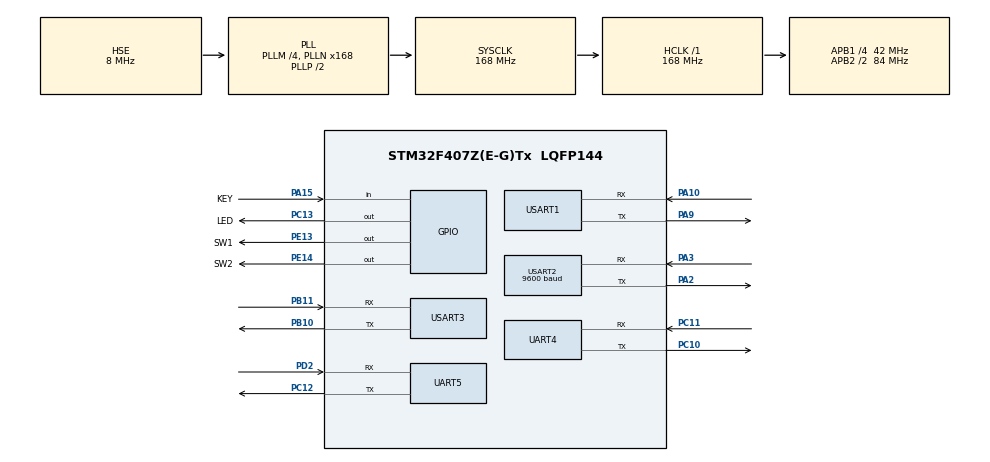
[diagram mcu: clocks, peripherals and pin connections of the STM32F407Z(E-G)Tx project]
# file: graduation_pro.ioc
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Mcu.Family=STM32F4
Mcu.Name=STM32F407Z(E-G)Tx
Mcu.Package=LQFP144
NVIC.PriorityGroup=NVIC_PRIORITYGROUP_4
NVIC.TIM6_DAC_IRQn=true\:3\:0\:true\:false\:true\:true\:true\:true
NVIC.TIM7_IRQn=true\:0\:0\:true\:false\:true\:true\:true\:true
NVIC.TIM8_TRG_COM_TIM14_IRQn=true\:2\:0\:true\:false\:true\:true\:true\:true
NVIC.USART1_IRQn=true\:1\:0\:true\:false\:true\:true\:true\:true
NVIC.USART2_IRQn=true\:1\:0\:true\:false\:true\:true\:true\:true
NVIC.USART3_IRQn=true\:1\:0\:true\:false\:true\:true\:true\:true
PA10.Mode=Asynchronous
PA10.Signal=USART1_RX
PA13.Mode=Serial_Wire
PA13.Signal=SYS_JTMS-SWDIO
PA14.Mode=Serial_Wire
PA14.Signal=SYS_JTCK-SWCLK
PA15.GPIO_Label=KEY
PA15.Signal=GPIO_Input
PA2.Mode=Asynchronous
PA2.Signal=USART2_TX
PA3.Mode=Asynchronous
PA3.Signal=USART2_RX
PA9.Mode=Asynchronous
PA9.Signal=USART1_TX
PB10.Mode=Asynchronous
PB10.Signal=USART3_TX
PB11.Mode=Asynchronous
PB11.Signal=USART3_RX
PC10.Mode=Asynchronous
PC10.Signal=UART4_TX
PC11.Mode=Asynchronous
PC11.Signal=UART4_RX
PC12.Mode=Asynchronous
PC12.Signal=UART5_TX
PC13-ANTI_TAMP.GPIO_Label=LED
PC13-ANTI_TAMP.GPIO_PuPd=GPIO_PULLUP
PC13-ANTI_TAMP.Signal=GPIO_Output
PD2.Mode=Asynchronous
PD2.Signal=UART5_RX
PE13.GPIO_Label=SW1
PE13.GPIO_PuPd=GPIO_PULLUP
PE13.Signal=GPIO_Output
PE14.GPIO_Label=SW2
PE14.GPIO_PuPd=GPIO_PULLUP
PE14.Signal=GPIO_Output
PH0-OSC_IN.Mode=HSE-External-Oscillator
PH0-OSC_IN.Signal=RCC_OSC_IN
PH1-OSC_OUT.Mode=HSE-External-Oscillator
PH1-OSC_OUT.Signal=RCC_OSC_OUT
ProjectManager.HeapSize=0x200
ProjectManager.StackSize=0x400
ProjectManager.TargetToolchain=MDK-ARM V5.32
RCC.48MHZClocksFreq_Value=84000000
RCC.AHBFreq_Value=168000000
RCC.APB1CLKDivider=RCC_HCLK_DIV4
RCC.APB1Freq_Value=42000000
RCC.APB1TimFreq_Value=84000000
RCC.APB2CLKDivider=RCC_HCLK_DIV2
RCC.APB2Freq_Value=84000000
RCC.APB2TimFreq_Value=168000000
RCC.CortexFreq_Value=168000000
RCC.HCLKFreq_Value=168000000
RCC.HSE_VALUE=8000000
RCC.HSI_VALUE=16000000
RCC.LSE_VALUE=32768
RCC.PLLM=4
RCC.PLLN=168
RCC.PLLSourceVirtual=RCC_PLLSOURCE_HSE
RCC.SYSCLKFreq_VALUE=168000000
RCC.SYSCLKSource=RCC_SYSCLKSOURCE_PLLCLK
RCC.VCOOutputFreq_Value=336000000
TIM14.AutoReloadPreload=TIM_AUTORELOAD_PRELOAD_ENABLE
TIM14.Period=4000-1
TIM14.Prescaler=84-1
TIM6.AutoReloadPreload=TIM_AUTORELOAD_PRELOAD_ENABLE
TIM6.Period=1000-1
TIM6.Prescaler=84-1
TIM7.AutoReloadPreload=TIM_AUTORELOAD_PRELOAD_ENABLE
TIM7.Period=2000-1
TIM7.Prescaler=84-1
UART4.VirtualMode=Asynchronous
UART5.VirtualMode=Asynchronous
USART1.VirtualMode=VM_ASYNC
USART2.BaudRate=9600
USART2.VirtualMode=VM_ASYNC
USART3.VirtualMode=VM_ASYNC
VP_TIM14_VS_ClockSourceINT.Mode=Enable_Timer
VP_TIM6_VS_ClockSourceINT.Mode=Enable_Timer
VP_TIM7_VS_ClockSourceINT.Mode=Enable_Timer
board=custom

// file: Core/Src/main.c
/* USER CODE BEGIN Header */
/**
  ******************************************************************************
  * @file           : main.c
  * @brief          : Main program body
  ******************************************************************************
  * @attention
  *
  * Copyright (c) 2023 STMicroelectronics.
  * All rights reserved.
  *
  * This software is licensed under terms that can be found in the LICENSE file
  * in the root directory of this software component.
  * If no LICENSE file comes with this software, it is provided AS-IS.
  *
  ******************************************************************************
  */
/* USER CODE END Header */
#include "main.h"
#include "tim.h"
#include "usart.h"
#include "gpio.h"

/* USER CODE BEGIN Includes */
#include "control.h"
#include "jy901.h"
#include "led.h"
#include "key.h"
#include "pid.h"
#include "delay.h"
#include "laser.h"
#include "modbus.h"
#include "nimotion.h"
#include "control.h"
/* USER CODE END Includes */

/* USER CODE BEGIN PV */
uint8_t g_Uart2RxByte;
uint8_t uart3_res;
float angt;
/* USER CODE END PV */

void SystemClock_Config(void);

int main(void)
{

  /* MCU Configuration--------------------------------------------------------*/

  /* Reset of all peripherals, Initializes the Flash interface and the Systick. */
  HAL_Init();

  /* Configure the system clock */
  SystemClock_Config();

  /* USER CODE BEGIN SysInit */
	delay_init(168);
  /* USER CODE END SysInit */

  /* Initialize all configured peripherals */
  MX_GPIO_Init();
  MX_UART4_Init();
  MX_UART5_Init();
  MX_USART1_UART_Init();
  MX_USART2_UART_Init();
  MX_USART3_UART_Init();
  MX_TIM14_Init();
  MX_TIM7_Init();
  MX_TIM6_Init();
  /* USER CODE BEGIN 2 */
	__HAL_UART_ENABLE_IT(&huart3, UART_IT_IDLE); //使能电机IDLE中断
	HAL_UARTEx_ReceiveToIdle_IT(&huart3,RS485_RX_BUF,64);
//	__HAL_UART_CLEAR_IDLEFLAG(&huart3);//清除标志位
	HWT_init();
	__HAL_TIM_CLEAR_FLAG(&htim14, TIM_FLAG_UPDATE);
	HAL_TIM_Base_Start_IT(&htim14);
	HAL_TIM_Base_Start_IT(&htim6);
	HAL_TIM_Base_Start_IT(&htim7);
	HAL_UART_Receive_IT(&huart2, &g_Uart2RxByte, 1);
//	HAL_UART_Receive_IT(&huart3,&uart3_res,1);
	delay_ms(500);
	init_yaw = (float)stcAngle.Angle[2]/32768*180;
  /* USER CODE END 2 */

  /* Infinite loop */
  /* USER CODE BEGIN WHILE */

	NiM_changeWorkMode(1,VELOCITY_MODE);
	delay_ms(1);
	NiM_changeWorkMode(2,VELOCITY_MODE);
	delay_ms(1);
	NiM_changeWorkMode(3,VELOCITY_MODE);
	delay_ms(1);
	NiM_changeWorkMode(4,VELOCITY_MODE);
	delay_ms(1);
	NiM_powerOff(1);
	NiM_powerOff(2);
	NiM_powerOff(3);
	NiM_powerOff(4);
	target_yaw=0;
	while(KeyState(0)==0);
	DirectionSet(1);//横向
	delay_ms(500);

//	speedLeft=400;speedRight=400;
//	delay_ms(2000);
//	speedLeft=-400;speedRight=-400;
//	delay_ms(2000);
//	speedLeft=400;speedRight=-400;
//	delay_ms(2000);
//	speedLeft=-400;speedRight=400;
//	delay_ms(2000);
//	speedLeft=0;speedRight=0;

	SpeedSet(400,400);
	delay_ms(2000);
	SpeedSet(-400,-400);
	delay_ms(2000);
//	SpeedSet(-400,400);
//	delay_ms(2000);
//	SpeedSet(400,-400);
//	delay_ms(2000);
//	SpeedSet(0,0);
//	isStraight = 1;
//	SpeedSet(200,200);
//	delay_ms(2000);
//	isStraight = 1;
//	SpeedSet(-200,-200);
//	delay_ms(2000);
//	NiM_powerOff(1);
//	NiM_powerOff(2);
//	NiM_powerOff(3);
//	NiM_powerOff(4);
	DirectionSet(1);
	delay_ms(3000);
	while (1)
  {

    /* USER CODE END WHILE */

  }
}

/**qock Configuration
  * @retval None
  */
void SystemClock_Config(void)
{
  RCC_OscInitTypeDef RCC_OscInitStruct = {0};
  RCC_ClkInitTypeDef RCC_ClkInitStruct = {0};

  /** Configure the main internal regulator output voltage
  */
  __HAL_RCC_PWR_CLK_ENABLE();
  __HAL_PWR_VOLTAGESCALING_CONFIG(PWR_REGULATOR_VOLTAGE_SCALE1);

  /** Initializes the RCC Oscillators according to the specified parameters
  * in the RCC_OscInitTypeDef structure.
  */
  RCC_OscInitStruct.OscillatorType = RCC_OSCILLATORTYPE_HSE;
  RCC_OscInitStruct.HSEState = RCC_HSE_ON;
  RCC_OscInitStruct.PLL.PLLState = RCC_PLL_ON;
  RCC_OscInitStruct.PLL.PLLSource = RCC_PLLSOURCE_HSE;
  RCC_OscInitStruct.PLL.PLLM = 4;
  RCC_OscInitStruct.PLL.PLLN = 168;
  RCC_OscInitStruct.PLL.PLLP = RCC_PLLP_DIV2;
  RCC_OscInitStruct.PLL.PLLQ = 4;
  if (HAL_RCC_OscConfig(&RCC_OscInitStruct) != HAL_OK)
  {
    Error_Handler();
  }

  /** Initializes the CPU, AHB and APB buses clocks
  */
  RCC_ClkInitStruct.ClockType = RCC_CLOCKTYPE_HCLK|RCC_CLOCKTYPE_SYSCLK
                              |RCC_CLOCKTYPE_PCLK1|RCC_CLOCKTYPE_PCLK2;
  RCC_ClkInitStruct.SYSCLKSource = RCC_SYSCLKSOURCE_PLLCLK;
  RCC_ClkInitStruct.AHBCLKDivider = RCC_SYSCLK_DIV1;
  RCC_ClkInitStruct.APB1CLKDivider = RCC_HCLK_DIV4;
  RCC_ClkInitStruct.APB2CLKDivider = RCC_HCLK_DIV2;

  if (HAL_RCC_ClockConfig(&RCC_ClkInitStruct, FLASH_LATENCY_5) != HAL_OK)
  {
    Error_Handler();
  }
}

/* USER CODE BEGIN 4 */
void HAL_UART_RxCpltCallback(UART_HandleTypeDef *huart)
{

	//陀螺仪串口数据接收中断
	if(huart->Instance == huart1.Instance)
	{
		CopeSerial2Data(TxBuffer_T);//陀螺仪数据解算
		HAL_UART_Receive_IT(&huart1,&TxBuffer_T,1);

	}
	//激光测距仪串口数据接收中断
	if(huart->Instance == huart2.Instance)
	{
		HAL_UART_Receive_IT(&huart2, &g_Uart2RxByte, 1);  // 激光测距仪数据解算
		LaserSerial2Data(g_Uart2RxByte);
	}
//	//电机串口数据接收中断
//	if(huart->Instance == huart3.Instance)
//	{
//		HAL_UART_Receive_IT(&huart3,&uart3_res,1); 	//读取接收到的数据
//		if(RS485_RX_CNT<64)
//		{
//			RS485_RX_BUF[RS485_RX_CNT]=uart3_res;		//记录接收到的值
//			RS485_RX_CNT++;						//接收数据增加1
//			__HAL_TIM_SET_COUNTER(&htim7,0);
//			HAL_TIM_Base_Start_IT(&htim7);
//		}
//		else RS485_RX_CNT=0;
//
//	}
}
void HAL_UARTEx_RxEventCallback(UART_HandleTypeDef *huart, uint16_t Size)
{
	if(huart->Instance == huart3.Instance){

		//串口空闲中断
		HAL_UARTEx_ReceiveToIdle_IT(&huart3,RS485_RX_BUF,64);
		__HAL_TIM_SET_COUNTER(&htim7,0);
		HAL_TIM_Base_Start_IT(&htim7);
//		RTU_FLAG=1;

	}

}

void HAL_TIM_PeriodElapsedCallback(TIM_HandleTypeDef *htim)
{
	static uint8_t num=4;
	static int delay6=0;
	static int delay14=0;
	//5ms定时激光测距仪T3.5时间用
	if(htim->Instance == htim14.Instance)
	{
		Led_Flash(100);
		delay14++;
		if(delay14 >6)//delay14*5ms定时
		{
			LaserDistanceGet(&MBRTUHandle,num,0x0001,1);
			num++;
			if(num>6) num=4;
			delay14 = 0;
		}
	}
	//1ms定时
	if(htim == &htim6)
	{
		delay6++;
		if(delay6 >40)//delay6*1ms定时
		{
			yaw=(float)stcAngle.Angle[2]/32768*180;
			if(yaw > angControl_pid.set - 0.1f && yaw < angControl_pid.set + 0.1f)    //当落在这个范围时，不再计算pid
			{
				speedW = 0;
			}
			else
			{
				angt = AngleCorrect(target_yaw+init_yaw);
				speedW = PID_calc(&angControl_pid,yaw,angt);
			}

//			SpeedSet(speedLeft,speedRight);
//			SpeedSet(-speedW,speedW);
			delay6 = 0;
		}

	}
	//3ms提供电机返回数据接收完毕信号
	if(htim->Instance == htim7.Instance)
	{
		RTU_FLAG=1;
		HAL_TIM_Base_Stop_IT(&htim7);
	}
}
/* USER CODE END 4 */

void Error_Handler(void)
{
  __disable_irq();
  while (1)
  {
  }
}
